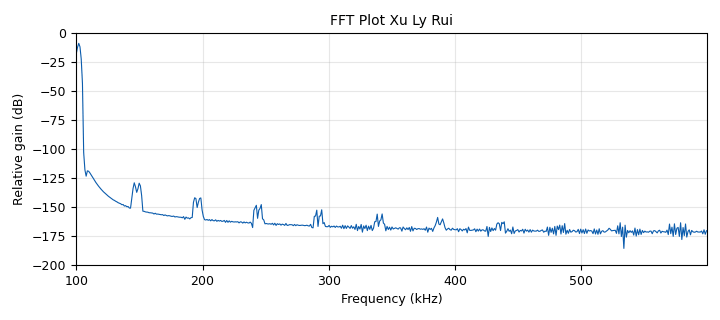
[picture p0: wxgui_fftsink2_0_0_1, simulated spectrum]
<?xml version='1.0' encoding='utf-8'?>
<?grc format='1' created='3.7.9'?>
<flow_graph>
<block>
<key>options</key>
<param><key>id</key><value>top_block</value></param>
<param><key>category</key><value>Custom</value></param>
<param><key>generate_options</key><value>wx_gui</value></param>
<param><key>run_options</key><value>run</value></param>
</block>
<block>
<key>variable</key>
<param><key>id</key><value>samp_rate</value></param>
<param><key>value</key><value>1e6</value></param>
</block>
<block>
<key>analog_sig_source_x</key>
<param><key>id</key><value>analog_sig_source_x_0</value></param>
<param><key>amp</key><value>1</value></param>
<param><key>freq</key><value>2000</value></param>
<param><key>offset</key><value>0</value></param>
<param><key>type</key><value>float</value></param>
<param><key>samp_rate</key><value>samp_rate</value></param>
<param><key>waveform</key><value>analog.GR_COS_WAVE</value></param>
</block>
<block>
<key>blocks_delay</key>
<param><key>id</key><value>blocks_delay_0</value></param>
<param><key>delay</key><value>10000</value></param>
<param><key>type</key><value>float</value></param>
</block>
<block>
<key>blocks_stream_to_vector</key>
<param><key>id</key><value>blocks_stream_to_vector_0</value></param>
<param><key>type</key><value>float</value></param>
<param><key>num_items</key><value>1024</value></param>
</block>
<block>
<key>blocks_stream_to_vector</key>
<param><key>id</key><value>blocks_stream_to_vector_0_0</value></param>
<param><key>type</key><value>float</value></param>
<param><key>num_items</key><value>1024</value></param>
</block>
<block>
<key>blocks_throttle</key>
<param><key>id</key><value>blocks_throttle_0_0</value></param>
<param><key>samples_per_second</key><value>samp_rate</value></param>
<param><key>type</key><value>float</value></param>
</block>
<block>
<key>blocks_udp_sink</key>
<param><key>id</key><value>blocks_udp_sink_0_0_0_0_0</value></param>
<param><key>ipaddr</key><value>192.168.15.36</value></param>
<param><key>port</key><value>5001</value></param>
<param><key>type</key><value>complex</value></param>
<param><key>psize</key><value>8192</value></param>
<param><key>eof</key><value>False</value></param>
<param><key>vlen</key><value>1</value></param>
</block>
<block>
<key>blocks_vector_to_stream</key>
<param><key>id</key><value>blocks_vector_to_stream_0_0</value></param>
<param><key>type</key><value>complex</value></param>
<param><key>num_items</key><value>1024</value></param>
</block>
<block>
<key>blocks_vector_to_stream</key>
<param><key>id</key><value>blocks_vector_to_stream_0_0_0</value></param>
<param><key>type</key><value>float</value></param>
<param><key>num_items</key><value>1024</value></param>
</block>
<block>
<key>fft_vxx</key>
<param><key>id</key><value>fft_vxx_0</value></param>
<param><key>fft_size</key><value>1024</value></param>
<param><key>forward</key><value>True</value></param>
<param><key>type</key><value>float</value></param>
<param><key>shift</key><value>True</value></param>
<param><key>window</key><value></value></param>
</block>
<block>
<key>wxgui_fftsink2</key>
<param><key>id</key><value>wxgui_fftsink2_0_0_1</value></param>
<param><key>avg_alpha</key><value>0</value></param>
<param><key>average</key><value>False</value></param>
<param><key>baseband_freq</key><value>1e5</value></param>
<param><key>fft_size</key><value>1024</value></param>
<param><key>freqvar</key><value>None</value></param>
<param><key>peak_hold</key><value>False</value></param>
<param><key>ref_level</key><value>0</value></param>
<param><key>ref_scale</key><value>2.0</value></param>
<param><key>fft_rate</key><value>15</value></param>
<param><key>samp_rate</key><value>samp_rate</value></param>
<param><key>title</key><value>FFT Plot Xu Ly Rui</value></param>
<param><key>type</key><value>float</value></param>
<param><key>win</key><value>None</value></param>
<param><key>y_divs</key><value>10</value></param>
<param><key>y_per_div</key><value>20</value></param>
</block>
<connection><source_block_id>analog_sig_source_x_0</source_block_id><sink_block_id>blocks_throttle_0_0</sink_block_id><source_key>0</source_key><sink_key>0</sink_key></connection>
<connection><source_block_id>blocks_delay_0</source_block_id><sink_block_id>blocks_stream_to_vector_0</sink_block_id><source_key>0</source_key><sink_key>0</sink_key></connection>
<connection><source_block_id>blocks_delay_0</source_block_id><sink_block_id>blocks_stream_to_vector_0_0</sink_block_id><source_key>0</source_key><sink_key>0</sink_key></connection>
<connection><source_block_id>blocks_stream_to_vector_0</source_block_id><sink_block_id>fft_vxx_0</sink_block_id><source_key>0</source_key><sink_key>0</sink_key></connection>
<connection><source_block_id>blocks_stream_to_vector_0_0</source_block_id><sink_block_id>blocks_vector_to_stream_0_0_0</sink_block_id><source_key>0</source_key><sink_key>0</sink_key></connection>
<connection><source_block_id>blocks_throttle_0_0</source_block_id><sink_block_id>blocks_delay_0</sink_block_id><source_key>0</source_key><sink_key>0</sink_key></connection>
<connection><source_block_id>blocks_vector_to_stream_0_0</source_block_id><sink_block_id>blocks_udp_sink_0_0_0_0_0</sink_block_id><source_key>0</source_key><sink_key>0</sink_key></connection>
<connection><source_block_id>blocks_vector_to_stream_0_0_0</source_block_id><sink_block_id>wxgui_fftsink2_0_0_1</sink_block_id><source_key>0</source_key><sink_key>0</sink_key></connection>
<connection><source_block_id>fft_vxx_0</source_block_id><sink_block_id>blocks_vector_to_stream_0_0</sink_block_id><source_key>0</source_key><sink_key>0</sink_key></connection>
</flow_graph>
